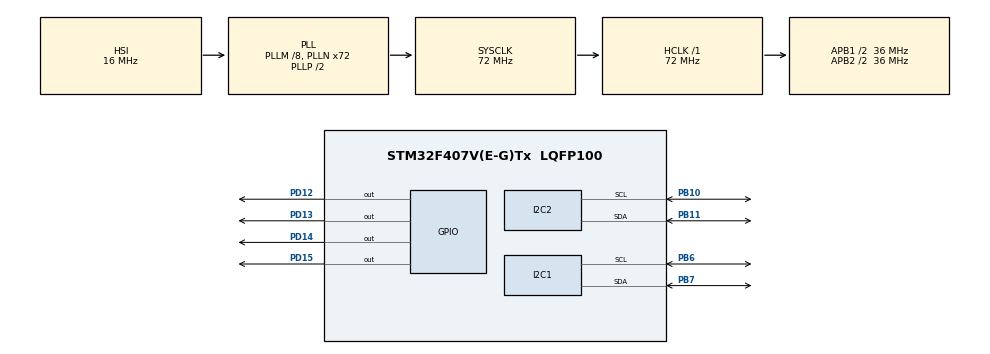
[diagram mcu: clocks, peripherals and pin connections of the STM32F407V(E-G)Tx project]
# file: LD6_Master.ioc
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Mcu.Family=STM32F4
Mcu.Name=STM32F407V(E-G)Tx
Mcu.Package=LQFP100
NVIC.I2C1_ER_IRQn=true\:0\:0\:false\:false\:true\:true\:true\:true
NVIC.I2C1_EV_IRQn=true\:0\:0\:false\:false\:true\:true\:true\:true
NVIC.I2C2_ER_IRQn=true\:0\:0\:false\:false\:true\:true\:true\:true
NVIC.I2C2_EV_IRQn=true\:0\:0\:false\:false\:true\:true\:true\:true
NVIC.PriorityGroup=NVIC_PRIORITYGROUP_0
PA13.Mode=Trace_Asynchronous_SW
PA13.Signal=SYS_JTMS-SWDIO
PA14.Mode=Trace_Asynchronous_SW
PA14.Signal=SYS_JTCK-SWCLK
PB10.GPIO_Pu=GPIO_PULLUP
PB10.Mode=I2C
PB10.Signal=I2C2_SCL
PB11.GPIO_Pu=GPIO_PULLUP
PB11.Mode=I2C
PB11.Signal=I2C2_SDA
PB3.Mode=Trace_Asynchronous_SW
PB3.Signal=SYS_JTDO-SWO
PB6.GPIO_Pu=GPIO_PULLUP
PB6.Mode=I2C
PB6.Signal=I2C1_SCL
PB7.GPIO_Pu=GPIO_PULLUP
PB7.Mode=I2C
PB7.Signal=I2C1_SDA
PD12.Signal=GPIO_Output
PD13.Signal=GPIO_Output
PD14.Signal=GPIO_Output
PD15.Signal=GPIO_Output
ProjectManager.HeapSize=0x200
ProjectManager.StackSize=0x400
ProjectManager.TargetToolchain=STM32CubeIDE
RCC.48MHZClocksFreq_Value=20571428.57142857
RCC.AHBFreq_Value=72000000
RCC.APB1CLKDivider=RCC_HCLK_DIV2
RCC.APB1Freq_Value=36000000
RCC.APB1TimFreq_Value=72000000
RCC.APB2CLKDivider=RCC_HCLK_DIV2
RCC.APB2Freq_Value=36000000
RCC.APB2TimFreq_Value=72000000
RCC.CortexFreq_Value=72000000
RCC.HCLKFreq_Value=72000000
RCC.HSE_VALUE=8000000
RCC.HSI_VALUE=16000000
RCC.LSE_VALUE=32768
RCC.PLLM=8
RCC.PLLN=72
RCC.PLLQ=7
RCC.SYSCLKFreq_VALUE=72000000
RCC.SYSCLKSource=RCC_SYSCLKSOURCE_PLLCLK
RCC.VCOOutputFreq_Value=144000000
board=STM32F407G-DISC1

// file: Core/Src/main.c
/* USER CODE BEGIN Header */
/**
  ******************************************************************************
  * @file           : main.c
  * @brief          : Main program body
  ******************************************************************************
  * @attention
  *
  * Copyright (c) 2024 STMicroelectronics.
  * All rights reserved.
  *
  * This software is licensed under terms that can be found in the LICENSE file
  * in the root directory of this software component.
  * If no LICENSE file comes with this software, it is provided AS-IS.
  *
  ******************************************************************************
  */
/* USER CODE END Header */
#include "main.h"

/* USER CODE BEGIN PD */
#define I2C_ADDRESS 0xfa
/* USER CODE END PD */

I2C_HandleTypeDef hi2c1;
I2C_HandleTypeDef hi2c2;

void SystemClock_Config(void);
static void MX_GPIO_Init(void);
static void MX_I2C2_Init(void);
static void MX_I2C1_Init(void);

/* USER CODE BEGIN 0 */
uint8_t toSend = 1;
uint8_t toSend2[3] = {0,7,3};
uint8_t toSend3[3] = {0,0,0};
uint8_t toSend4[3] = {7,7,5};
int uzd_nr = 2;
int count = 0;
/* USER CODE END 0 */

int main(void)
{

  /* MCU Configuration--------------------------------------------------------*/

  /* Reset of all peripherals, Initializes the Flash interface and the Systick. */
  HAL_Init();

  /* Configure the system clock */
  SystemClock_Config();

  /* Initialize all configured peripherals */
  MX_GPIO_Init();
  MX_I2C2_Init();
  MX_I2C1_Init();

  /* Infinite loop */
  /* USER CODE BEGIN WHILE */
  while (1)
  {
	  if (count == 3){
		  count = 0;
	  }
	  if (uzd_nr == 1){
		  if (HAL_I2C_IsDeviceReady(&hi2c2, I2C_ADDRESS, 5, HAL_MAX_DELAY) == HAL_OK){
		  		  HAL_GPIO_TogglePin(GPIOD, GPIO_PIN_12);
		  		  HAL_GPIO_WritePin(GPIOD, GPIO_PIN_14, GPIO_PIN_RESET);
		  		  HAL_I2C_Master_Transmit(&hi2c2, I2C_ADDRESS, &toSend, 1, HAL_MAX_DELAY);
		  		  HAL_Delay(2000);
		  	  }
		  	  else{
		  		  HAL_GPIO_TogglePin(GPIOD, GPIO_PIN_14);
		  		  HAL_GPIO_WritePin(GPIOD, GPIO_PIN_12, GPIO_PIN_RESET);
		  		  HAL_Delay(2000);
		  	  }
	  }
	  else if (uzd_nr == 2){
		  if (HAL_I2C_IsDeviceReady(&hi2c1, I2C_ADDRESS, 5, HAL_MAX_DELAY) == HAL_OK){
			  HAL_GPIO_TogglePin(GPIOD, GPIO_PIN_12);
		      HAL_GPIO_WritePin(GPIOD, GPIO_PIN_14, GPIO_PIN_RESET);
		      if (count == 0){
		    	  HAL_I2C_Master_Transmit(&hi2c1, I2C_ADDRESS, &toSend2, 3, HAL_MAX_DELAY);
		      }
		      else if (count == 1){
		    	  HAL_I2C_Master_Transmit(&hi2c1, I2C_ADDRESS, &toSend3, 3, HAL_MAX_DELAY);
		      }
		      else if (count == 2){
		    	  HAL_I2C_Master_Transmit(&hi2c1, I2C_ADDRESS, &toSend4, 3, HAL_MAX_DELAY);
		      }
		      HAL_Delay(2000);
		      count++;
		  }
		  else{
			  HAL_GPIO_TogglePin(GPIOD, GPIO_PIN_14);
		  	  HAL_GPIO_WritePin(GPIOD, GPIO_PIN_12, GPIO_PIN_RESET);
		      HAL_Delay(2000);
		  }
	  }
    /* USER CODE END WHILE */

  }
}

void SystemClock_Config(void)
{
  RCC_OscInitTypeDef RCC_OscInitStruct = {0};
  RCC_ClkInitTypeDef RCC_ClkInitStruct = {0};

  /** Configure the main internal regulator output voltage
  */
  __HAL_RCC_PWR_CLK_ENABLE();
  __HAL_PWR_VOLTAGESCALING_CONFIG(PWR_REGULATOR_VOLTAGE_SCALE1);

  /** Initializes the RCC Oscillators according to the specified parameters
  * in the RCC_OscInitTypeDef structure.
  */
  RCC_OscInitStruct.OscillatorType = RCC_OSCILLATORTYPE_HSI;
  RCC_OscInitStruct.HSIState = RCC_HSI_ON;
  RCC_OscInitStruct.HSICalibrationValue = RCC_HSICALIBRATION_DEFAULT;
  RCC_OscInitStruct.PLL.PLLState = RCC_PLL_ON;
  RCC_OscInitStruct.PLL.PLLSource = RCC_PLLSOURCE_HSI;
  RCC_OscInitStruct.PLL.PLLM = 8;
  RCC_OscInitStruct.PLL.PLLN = 72;
  RCC_OscInitStruct.PLL.PLLP = RCC_PLLP_DIV2;
  RCC_OscInitStruct.PLL.PLLQ = 7;
  if (HAL_RCC_OscConfig(&RCC_OscInitStruct) != HAL_OK)
  {
    Error_Handler();
  }

  /** Initializes the CPU, AHB and APB buses clocks
  */
  RCC_ClkInitStruct.ClockType = RCC_CLOCKTYPE_HCLK|RCC_CLOCKTYPE_SYSCLK
                              |RCC_CLOCKTYPE_PCLK1|RCC_CLOCKTYPE_PCLK2;
  RCC_ClkInitStruct.SYSCLKSource = RCC_SYSCLKSOURCE_PLLCLK;
  RCC_ClkInitStruct.AHBCLKDivider = RCC_SYSCLK_DIV1;
  RCC_ClkInitStruct.APB1CLKDivider = RCC_HCLK_DIV2;
  RCC_ClkInitStruct.APB2CLKDivider = RCC_HCLK_DIV2;

  if (HAL_RCC_ClockConfig(&RCC_ClkInitStruct, FLASH_LATENCY_2) != HAL_OK)
  {
    Error_Handler();
  }
}

static void MX_I2C1_Init(void)
{

  hi2c1.Instance = I2C1;
  hi2c1.Init.ClockSpeed = 100000;
  hi2c1.Init.DutyCycle = I2C_DUTYCYCLE_2;
  hi2c1.Init.OwnAddress1 = 0;
  hi2c1.Init.AddressingMode = I2C_ADDRESSINGMODE_7BIT;
  hi2c1.Init.DualAddressMode = I2C_DUALADDRESS_DISABLE;
  hi2c1.Init.OwnAddress2 = 0;
  hi2c1.Init.GeneralCallMode = I2C_GENERALCALL_DISABLE;
  hi2c1.Init.NoStretchMode = I2C_NOSTRETCH_DISABLE;
  if (HAL_I2C_Init(&hi2c1) != HAL_OK)
  {
    Error_Handler();
  }

}

static void MX_I2C2_Init(void)
{

  hi2c2.Instance = I2C2;
  hi2c2.Init.ClockSpeed = 100000;
  hi2c2.Init.DutyCycle = I2C_DUTYCYCLE_2;
  hi2c2.Init.OwnAddress1 = 0;
  hi2c2.Init.AddressingMode = I2C_ADDRESSINGMODE_7BIT;
  hi2c2.Init.DualAddressMode = I2C_DUALADDRESS_DISABLE;
  hi2c2.Init.OwnAddress2 = 0;
  hi2c2.Init.GeneralCallMode = I2C_GENERALCALL_DISABLE;
  hi2c2.Init.NoStretchMode = I2C_NOSTRETCH_DISABLE;
  if (HAL_I2C_Init(&hi2c2) != HAL_OK)
  {
    Error_Handler();
  }

}

static void MX_GPIO_Init(void)
{
  GPIO_InitTypeDef GPIO_InitStruct = {0};

  /* GPIO Ports Clock Enable */
  __HAL_RCC_GPIOB_CLK_ENABLE();
  __HAL_RCC_GPIOD_CLK_ENABLE();
  __HAL_RCC_GPIOA_CLK_ENABLE();

  /*Configure GPIO pin Output Level */
  HAL_GPIO_WritePin(GPIOD, GPIO_PIN_12|GPIO_PIN_13|GPIO_PIN_14|GPIO_PIN_15, GPIO_PIN_RESET);

  /*Configure GPIO pins : PD12 PD13 PD14 PD15 */
  GPIO_InitStruct.Pin = GPIO_PIN_12|GPIO_PIN_13|GPIO_PIN_14|GPIO_PIN_15;
  GPIO_InitStruct.Mode = GPIO_MODE_OUTPUT_PP;
  GPIO_InitStruct.Pull = GPIO_NOPULL;
  GPIO_InitStruct.Speed = GPIO_SPEED_FREQ_LOW;
  HAL_GPIO_Init(GPIOD, &GPIO_InitStruct);

}

void Error_Handler(void)
{
  __disable_irq();
  while (1)
  {
  }
}
